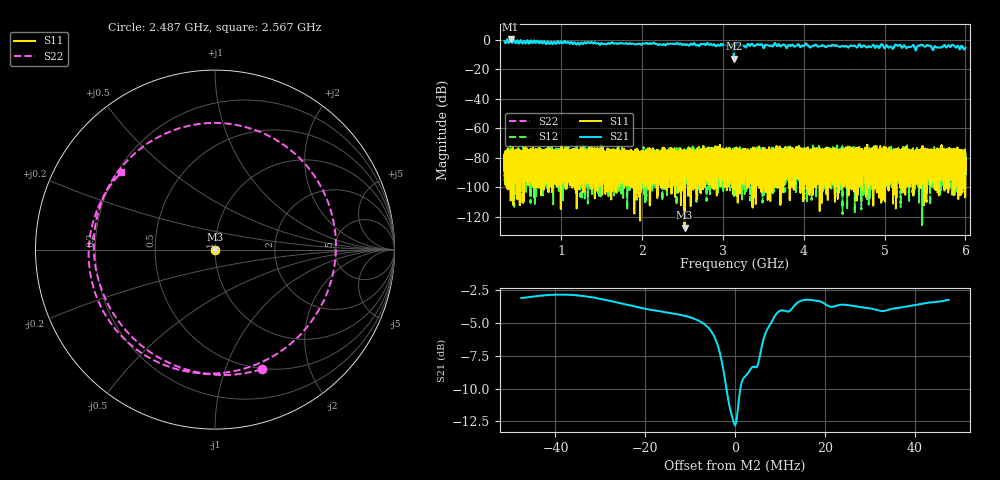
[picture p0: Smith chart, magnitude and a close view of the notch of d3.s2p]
!Agilent Technologies,N5230C,SG49000117,A.08.50.07
!Agilent N5230C: A.08.50.07
!Date: Monday, March 18, 2024 18:48:23
!Correction: S11(Off)
!S21(Off)
!S12(Off)
!S22(Off)
!S2P File: Measurements: S11, S21, S12, S22:
# Hz S  RI  R 50
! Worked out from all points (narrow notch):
!   20001 points, 300 MHz to 6 GHz, reference 50 ohm
!   highest |S21| = 0.46 dB at 373.8 MHz (marker M1); lowest = -12.8 dB at 3.136 GHz (marker M2)
!   notch at M2: 9.4 dB deep, 7.98 MHz wide at half that depth
!   lowest |S11| = -127.6 dB at 2.526 GHz (marker M3), VSWR 1.00, Z = 50 + j3.27e-05 ohm
!   |S11| at or under -10 dB: start of sweep to end of sweep
!   |S22| runs from -12.8 to 0.5 dB; largest |S21 - S12| = 1.1
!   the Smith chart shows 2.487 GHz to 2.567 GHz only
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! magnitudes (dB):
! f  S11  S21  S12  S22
! 300 MHz  -88.4  -0.9  -77.5  -0.9
! 373.8 MHz  -85.8  0.5  -79.8  0.5
! 1.25 GHz  -81.6  -1.7  -78.6  -1.7
! 2.2 GHz  -76.5  -3.5  -86.2  -3.5
! 2.526 GHz  -127.6  -3.2  -76.8  -3.2
! 3.084 GHz  -87.8  -3.2  -82.7  -3.2
! 3.136 GHz  -81.2  -12.8  -80.6  -12.8
! 3.15 GHz  -81.7  -3.4  -81.8  -3.3
! 3.177 GHz  -75.5  -3.6  -81.7  -3.5
! 3.269 GHz  -77.3  -4.3  -86.5  -4.2
! 3.454 GHz  -78.0  -3.6  -74.3  -3.5
! 3.516 GHz  -77.6  -4.4  -84.6  -4.3
! 3.976 GHz  -80.5  -4.1  -95.2  -4.0
! 4.034 GHz  -85.9  -2.8  -85.1  -2.7
! 4.1 GHz  -84.6  -4.2  -86.9  -4.1
! 5.05 GHz  -82.6  -5.3  -75.9  -5.3
! 5.159 GHz  -81.1  -4.0  -84.3  -4.0
! 5.393 GHz  -87.4  -6.4  -90.8  -6.4
! 5.453 GHz  -76.4  -3.4  -90.3  -3.4
! 5.61 GHz  -80.5  -5.5  -84.0  -5.5
! 5.843 GHz  -76.6  -3.4  -84.9  -3.4
! 6 GHz  -82.3  -5.5  -78.1  -5.5
